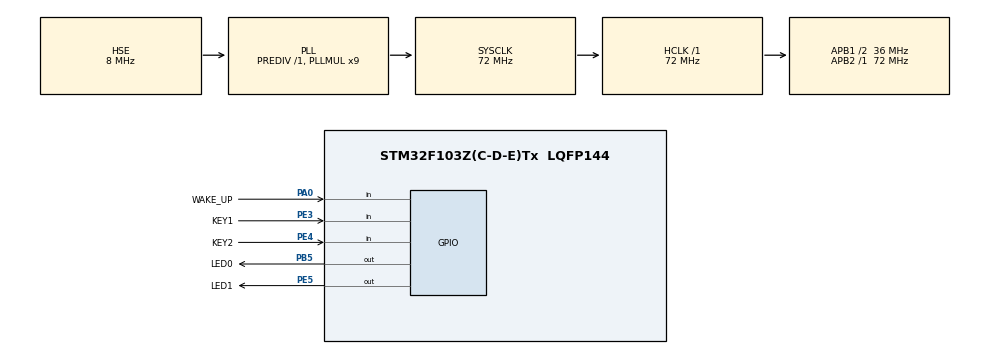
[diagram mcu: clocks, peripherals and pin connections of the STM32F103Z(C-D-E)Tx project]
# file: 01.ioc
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Mcu.Family=STM32F1
Mcu.Name=STM32F103Z(C-D-E)Tx
Mcu.Package=LQFP144
NVIC.PriorityGroup=NVIC_PRIORITYGROUP_4
OSC_IN.Mode=HSE-External-Oscillator
OSC_IN.Signal=RCC_OSC_IN
OSC_OUT.Mode=HSE-External-Oscillator
OSC_OUT.Signal=RCC_OSC_OUT
PA0-WKUP.GPIO_Label=WAKE_UP
PA0-WKUP.GPIO_PuPd=GPIO_PULLDOWN
PA0-WKUP.Signal=GPIO_Input
PA13.Mode=Serial_Wire
PA13.Signal=SYS_JTMS-SWDIO
PA14.Mode=Serial_Wire
PA14.Signal=SYS_JTCK-SWCLK
PB5.GPIO_Label=LED0
PB5.GPIO_Speed=GPIO_SPEED_FREQ_HIGH
PB5.PinState=GPIO_PIN_SET
PB5.Signal=GPIO_Output
PE3.GPIO_Label=KEY1
PE3.GPIO_PuPd=GPIO_PULLUP
PE3.Signal=GPIO_Input
PE4.GPIO_Label=KEY2
PE4.GPIO_PuPd=GPIO_PULLUP
PE4.Signal=GPIO_Input
PE5.GPIO_Label=LED1
PE5.GPIO_Speed=GPIO_SPEED_FREQ_HIGH
PE5.PinState=GPIO_PIN_SET
PE5.Signal=GPIO_Output
ProjectManager.HeapSize=0x200
ProjectManager.StackSize=0x400
ProjectManager.TargetToolchain=MDK-ARM V5.27
RCC.AHBFreq_Value=72000000
RCC.APB1CLKDivider=RCC_HCLK_DIV2
RCC.APB1Freq_Value=36000000
RCC.APB1TimFreq_Value=72000000
RCC.APB2Freq_Value=72000000
RCC.APB2TimFreq_Value=72000000
RCC.HCLKFreq_Value=72000000
RCC.PLLMUL=RCC_PLL_MUL9
RCC.PLLSourceVirtual=RCC_PLLSOURCE_HSE
RCC.SYSCLKFreq_VALUE=72000000
RCC.SYSCLKSource=RCC_SYSCLKSOURCE_PLLCLK
RCC.USBFreq_Value=72000000
board=custom

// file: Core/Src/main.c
/* USER CODE BEGIN Header */
/**
  ******************************************************************************
  * @file           : main.c
  * @brief          : Main program body
  ******************************************************************************
  * @attention
  *
  * <h2><center>&copy; Copyright (c) 2022 STMicroelectronics.
  * All rights reserved.</center></h2>
  *
  * This software component is licensed by ST under BSD 3-Clause license,
  * the "License"; You may not use this file except in compliance with the
  * License. You may obtain a copy of the License at:
  *                        opensource.org/licenses/BSD-3-Clause
  *
  ******************************************************************************
  */
/* USER CODE END Header */
#include "main.h"
#include "gpio.h"

/* USER CODE BEGIN Includes */
#include <stdarg.h>
#include "sys.h"
#include "delay.h"
#include "stdio.h"
#include "string.h"
#include "stdlib.h"
/* USER CODE END Includes */

void SystemClock_Config(void);

/* USER CODE BEGIN 0 */
	u8 key_flag =1;
/* USER CODE END 0 */

int main(void)
{

  /* MCU Configuration--------------------------------------------------------*/

  /* Reset of all peripherals, Initializes the Flash interface and the Systick. */
  HAL_Init();

  /* Configure the system clock */
  SystemClock_Config();

  /* Initialize all configured peripherals */
  MX_GPIO_Init();
  /* USER CODE BEGIN 2 */
	delay_init(72);
  /* USER CODE END 2 */

  /* Infinite loop */
  /* USER CODE BEGIN WHILE */
  while (1)
  {
		key_flag = KEY_Scan(0);

    /* USER CODE END WHILE */

    /* USER CODE BEGIN 3 */
		switch(key_flag)
		{
			case KEY1_PRES:
				LED0(0);
				LED1(1);
				break;
			case KEY2_PRES:
				LED0(1);
				LED1(0);
				break;
			case WKUP_PRES:
				HAL_GPIO_TogglePin(LED0_GPIO_Port,LED0_Pin);
				HAL_GPIO_TogglePin(LED1_GPIO_Port,LED1_Pin);
			break;
			default:
			break;
		}
  }
  /* USER CODE END 3 */
}

void SystemClock_Config(void)
{
  RCC_OscInitTypeDef RCC_OscInitStruct = {0};
  RCC_ClkInitTypeDef RCC_ClkInitStruct = {0};

  /** Initializes the RCC Oscillators according to the specified parameters
  * in the RCC_OscInitTypeDef structure.
  */
  RCC_OscInitStruct.OscillatorType = RCC_OSCILLATORTYPE_HSE;
  RCC_OscInitStruct.HSEState = RCC_HSE_ON;
  RCC_OscInitStruct.HSEPredivValue = RCC_HSE_PREDIV_DIV1;
  RCC_OscInitStruct.HSIState = RCC_HSI_ON;
  RCC_OscInitStruct.PLL.PLLState = RCC_PLL_ON;
  RCC_OscInitStruct.PLL.PLLSource = RCC_PLLSOURCE_HSE;
  RCC_OscInitStruct.PLL.PLLMUL = RCC_PLL_MUL9;
  if (HAL_RCC_OscConfig(&RCC_OscInitStruct) != HAL_OK)
  {
    Error_Handler();
  }
  /** Initializes the CPU, AHB and APB buses clocks
  */
  RCC_ClkInitStruct.ClockType = RCC_CLOCKTYPE_HCLK|RCC_CLOCKTYPE_SYSCLK
                              |RCC_CLOCKTYPE_PCLK1|RCC_CLOCKTYPE_PCLK2;
  RCC_ClkInitStruct.SYSCLKSource = RCC_SYSCLKSOURCE_PLLCLK;
  RCC_ClkInitStruct.AHBCLKDivider = RCC_SYSCLK_DIV1;
  RCC_ClkInitStruct.APB1CLKDivider = RCC_HCLK_DIV2;
  RCC_ClkInitStruct.APB2CLKDivider = RCC_HCLK_DIV1;

  if (HAL_RCC_ClockConfig(&RCC_ClkInitStruct, FLASH_LATENCY_2) != HAL_OK)
  {
    Error_Handler();
  }
}

void Error_Handler(void)
{
  __disable_irq();
  while (1)
  {
  }
}

/************************ (C) COPYRIGHT STMicroelectronics *****END OF FILE****/
